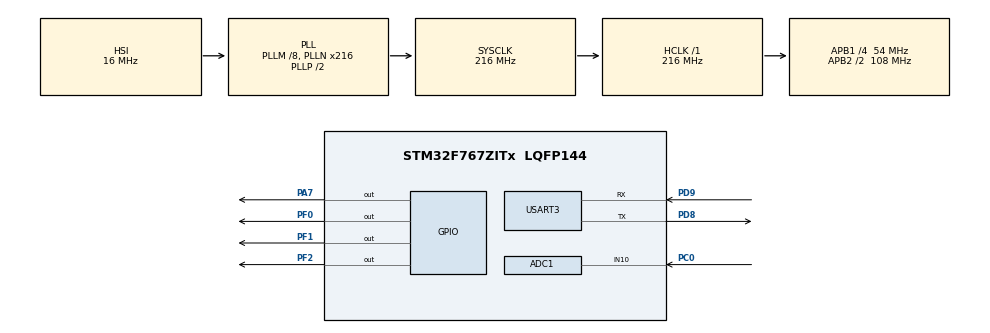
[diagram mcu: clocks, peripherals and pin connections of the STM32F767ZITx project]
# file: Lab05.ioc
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ADC1.Channel-3\#ChannelRegularConversion=ADC_CHANNEL_10
ADC1.NbrOfConversionFlag=1
ADC1.Rank-3\#ChannelRegularConversion=1
ADC1.SamplingTime-3\#ChannelRegularConversion=ADC_SAMPLETIME_3CYCLES
ADC1.master=1
Mcu.Family=STM32F7
Mcu.Name=STM32F767ZITx
Mcu.Package=LQFP144
NVIC.PriorityGroup=NVIC_PRIORITYGROUP_4
PA7.Signal=GPIO_Output
PC0.Signal=ADCx_IN10
PD8.Mode=Asynchronous
PD8.Signal=USART3_TX
PD9.Mode=Asynchronous
PD9.Signal=USART3_RX
PF0.Signal=GPIO_Output
PF1.Signal=GPIO_Output
PF2.Signal=GPIO_Output
ProjectManager.HeapSize=0x200
ProjectManager.StackSize=0x400
ProjectManager.TargetToolchain=STM32CubeIDE
RCC.AHBFreq_Value=216000000
RCC.APB1CLKDivider=RCC_HCLK_DIV4
RCC.APB1Freq_Value=54000000
RCC.APB1TimFreq_Value=108000000
RCC.APB2CLKDivider=RCC_HCLK_DIV2
RCC.APB2Freq_Value=108000000
RCC.APB2TimFreq_Value=216000000
RCC.CortexFreq_Value=216000000
RCC.HCLKFreq_Value=216000000
RCC.HSE_VALUE=25000000
RCC.HSI_VALUE=16000000
RCC.LSE_VALUE=32768
RCC.PLLM=8
RCC.PLLN=216
RCC.SYSCLKFreq_VALUE=216000000
RCC.SYSCLKSource=RCC_SYSCLKSOURCE_PLLCLK
RCC.USBFreq_Value=216000000
RCC.VCOOutputFreq_Value=432000000
SH.ADCx_IN10.0=ADC1_IN10,IN10
USART3.VirtualMode-Asynchronous=VM_ASYNC
board=custom

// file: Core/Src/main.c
/* USER CODE BEGIN Header */
/**
  ******************************************************************************
  * @file           : main.c
  * @brief          : Main program body
  ******************************************************************************
  * @attention
  *
  * Copyright (c) 2023 STMicroelectronics.
  * All rights reserved.
  *
  * This software is licensed under terms that can be found in the LICENSE file
  * in the root directory of this software component.
  * If no LICENSE file comes with this software, it is provided AS-IS.
  *
  ******************************************************************************
  */
/* USER CODE END Header */
#include "main.h"
#include "adc.h"
#include "usart.h"
#include "gpio.h"

/* USER CODE BEGIN Includes */
#include "string.h"
/* USER CODE END Includes */

void SystemClock_Config(void);
static void MPU_Initialize(void);
static void MPU_Config(void);

int main(void)
{

  /* MCU Configuration--------------------------------------------------------*/

  /* Reset of all peripherals, Initializes the Flash interface and the Systick. */
  HAL_Init();

  /* MPU Configuration--------------------------------------------------------*/
  MPU_Config();

  /* Configure the system clock */
  SystemClock_Config();

  /* Initialize all configured peripherals */
  MX_GPIO_Init();
  MX_ADC1_Init();
  MX_USART3_UART_Init();

  /* Infinite loop */
  while (1)
  {

    /* USER CODE BEGIN 3 */
	  volatile uint32_t adc_val = 0;

	  HAL_ADC_Start(&hadc1);
	  while (HAL_ADC_PollForConversion(&hadc1, 100) != HAL_OK){}
	  adc_val = HAL_ADC_GetValue(&hadc1);
	  displayHex(adc_val);
	  HAL_GPIO_WritePin(GPIOA, GPIO_PIN_7, (adc_val >= 819) ? 1 : 0);
	  HAL_GPIO_WritePin(GPIOF, GPIO_PIN_2, (adc_val >= 1638) ? 1 : 0);
	  HAL_GPIO_WritePin(GPIOF, GPIO_PIN_1, (adc_val >= 2457) ? 1 : 0);
	  HAL_GPIO_WritePin(GPIOF, GPIO_PIN_0, (adc_val >= 3276) ? 1 : 0);
	  HAL_Delay(400);
  }
  /* USER CODE END 3 */
}

void SystemClock_Config(void)
{
  RCC_OscInitTypeDef RCC_OscInitStruct = {0};
  RCC_ClkInitTypeDef RCC_ClkInitStruct = {0};

  /** Configure the main internal regulator output voltage
  */
  __HAL_RCC_PWR_CLK_ENABLE();
  __HAL_PWR_VOLTAGESCALING_CONFIG(PWR_REGULATOR_VOLTAGE_SCALE1);

  /** Initializes the RCC Oscillators according to the specified parameters
  * in the RCC_OscInitTypeDef structure.
  */
  RCC_OscInitStruct.OscillatorType = RCC_OSCILLATORTYPE_HSI;
  RCC_OscInitStruct.HSIState = RCC_HSI_ON;
  RCC_OscInitStruct.HSICalibrationValue = RCC_HSICALIBRATION_DEFAULT;
  RCC_OscInitStruct.PLL.PLLState = RCC_PLL_ON;
  RCC_OscInitStruct.PLL.PLLSource = RCC_PLLSOURCE_HSI;
  RCC_OscInitStruct.PLL.PLLM = 8;
  RCC_OscInitStruct.PLL.PLLN = 216;
  RCC_OscInitStruct.PLL.PLLP = RCC_PLLP_DIV2;
  RCC_OscInitStruct.PLL.PLLQ = 2;
  RCC_OscInitStruct.PLL.PLLR = 2;
  if (HAL_RCC_OscConfig(&RCC_OscInitStruct) != HAL_OK)
  {
    Error_Handler();
  }

  /** Activate the Over-Drive mode
  */
  if (HAL_PWREx_EnableOverDrive() != HAL_OK)
  {
    Error_Handler();
  }

  /** Initializes the CPU, AHB and APB buses clocks
  */
  RCC_ClkInitStruct.ClockType = RCC_CLOCKTYPE_HCLK|RCC_CLOCKTYPE_SYSCLK
                              |RCC_CLOCKTYPE_PCLK1|RCC_CLOCKTYPE_PCLK2;
  RCC_ClkInitStruct.SYSCLKSource = RCC_SYSCLKSOURCE_PLLCLK;
  RCC_ClkInitStruct.AHBCLKDivider = RCC_SYSCLK_DIV1;
  RCC_ClkInitStruct.APB1CLKDivider = RCC_HCLK_DIV4;
  RCC_ClkInitStruct.APB2CLKDivider = RCC_HCLK_DIV2;

  if (HAL_RCC_ClockConfig(&RCC_ClkInitStruct, FLASH_LATENCY_7) != HAL_OK)
  {
    Error_Handler();
  }
}

/* USER CODE BEGIN 4 */
int	average_8(int x)
{
	static int samples[8];
	static int i = 0;
	static int total = 0;

	total += x - samples[i];
	samples[i] = x;

	i = (i==7 ? 0 : i + 1);

	return total>>3;
}

int	average_16(int x)
{
	static int samples[16];
	static int i = 0;
	static int total = 0;

	total += x - samples[i];
	samples[i] = x;

	i = (i==15 ? 0 : i + 1);

	return total>>4;
}

void displayHex(uint32_t val)
{
	char buffer[50];
	float vin = (float)(val/4096.00) * (float)5;
	sprintf(buffer, "ADC1 CH10 0x%08X Vin = %.2f\n\r", val, vin);
	while (__HAL_UART_GET_FLAG(&huart3, UART_FLAG_TC) == RESET){}
	HAL_UART_Transmit(&huart3, buffer, strlen(buffer), 100);
}

/* USER CODE END 4 */

/* MPU Configuration */

void MPU_Config(void)
{
  MPU_Region_InitTypeDef MPU_InitStruct = {0};

  /* Disables the MPU */
  HAL_MPU_Disable();

  /** Initializes and configures the Region and the memory to be protected
  */
  MPU_InitStruct.Enable = MPU_REGION_ENABLE;
  MPU_InitStruct.Number = MPU_REGION_NUMBER0;
  MPU_InitStruct.BaseAddress = 0x0;
  MPU_InitStruct.Size = MPU_REGION_SIZE_4GB;
  MPU_InitStruct.SubRegionDisable = 0x87;
  MPU_InitStruct.TypeExtField = MPU_TEX_LEVEL0;
  MPU_InitStruct.AccessPermission = MPU_REGION_NO_ACCESS;
  MPU_InitStruct.DisableExec = MPU_INSTRUCTION_ACCESS_DISABLE;
  MPU_InitStruct.IsShareable = MPU_ACCESS_SHAREABLE;
  MPU_InitStruct.IsCacheable = MPU_ACCESS_NOT_CACHEABLE;
  MPU_InitStruct.IsBufferable = MPU_ACCESS_NOT_BUFFERABLE;

  HAL_MPU_ConfigRegion(&MPU_InitStruct);
  /* Enables the MPU */
  HAL_MPU_Enable(MPU_PRIVILEGED_DEFAULT);

}

void Error_Handler(void)
{
  __disable_irq();
  while (1)
  {
  }
}
